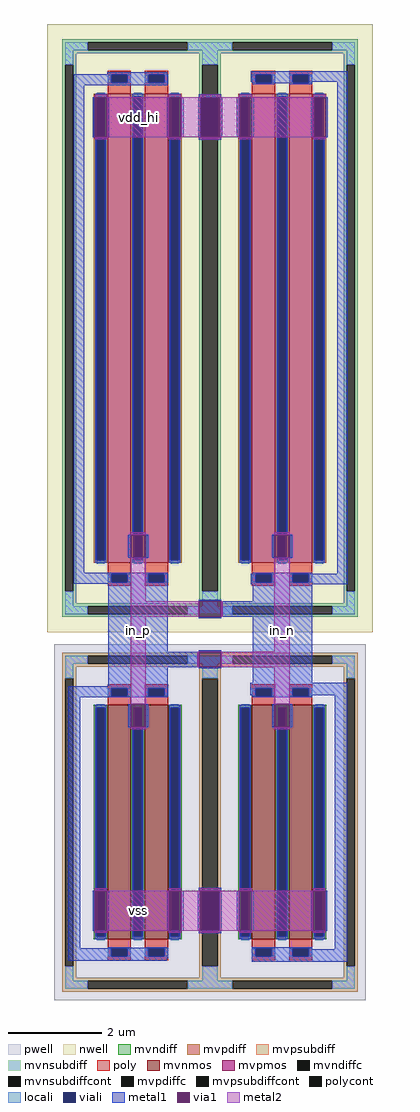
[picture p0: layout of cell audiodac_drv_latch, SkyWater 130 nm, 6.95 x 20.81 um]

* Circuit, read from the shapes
.subckt audiodac_drv_latch in_p in_n vdd_hi vss
XM1 in_p in_n vss vss sky130_fd_pr__nfet_g5v0d10v5 w=5 l=0.5 m=2
XM2 in_n in_p vss vss sky130_fd_pr__nfet_g5v0d10v5 w=5 l=0.5 m=2
XM3 in_p in_n vdd_hi vdd_hi sky130_fd_pr__pfet_g5v0d10v5 w=10 l=0.5 m=2
XM4 in_n in_p vdd_hi vdd_hi sky130_fd_pr__pfet_g5v0d10v5 w=10 l=0.5 m=2
.ends

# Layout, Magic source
magic
tech sky130A
magscale 1 2
<< nwell >>
rect 1834 -25434 3224 -22840
<< pwell >>
rect 1864 -27002 3194 -25486
<< mvnmos >>
rect 2092 -26744 2192 -25744
rect 2250 -26744 2350 -25744
rect 2708 -26744 2808 -25744
rect 2866 -26744 2966 -25744
<< mvpmos >>
rect 2092 -25138 2192 -23138
rect 2250 -25138 2350 -23138
rect 2708 -25138 2808 -23138
rect 2866 -25138 2966 -23138
<< mvndiff >>
rect 2034 -25756 2092 -25744
rect 2034 -26732 2046 -25756
rect 2080 -26732 2092 -25756
rect 2034 -26744 2092 -26732
rect 2192 -25756 2250 -25744
rect 2192 -26732 2204 -25756
rect 2238 -26732 2250 -25756
rect 2192 -26744 2250 -26732
rect 2350 -25756 2408 -25744
rect 2350 -26732 2362 -25756
rect 2396 -26732 2408 -25756
rect 2350 -26744 2408 -26732
rect 2650 -25756 2708 -25744
rect 2650 -26732 2662 -25756
rect 2696 -26732 2708 -25756
rect 2650 -26744 2708 -26732
rect 2808 -25756 2866 -25744
rect 2808 -26732 2820 -25756
rect 2854 -26732 2866 -25756
rect 2808 -26744 2866 -26732
rect 2966 -25756 3024 -25744
rect 2966 -26732 2978 -25756
rect 3012 -26732 3024 -25756
rect 2966 -26744 3024 -26732
<< mvpdiff >>
rect 2034 -23150 2092 -23138
rect 2034 -25126 2046 -23150
rect 2080 -25126 2092 -23150
rect 2034 -25138 2092 -25126
rect 2192 -23150 2250 -23138
rect 2192 -25126 2204 -23150
rect 2238 -25126 2250 -23150
rect 2192 -25138 2250 -25126
rect 2350 -23150 2408 -23138
rect 2350 -25126 2362 -23150
rect 2396 -25126 2408 -23150
rect 2350 -25138 2408 -25126
rect 2650 -23150 2708 -23138
rect 2650 -25126 2662 -23150
rect 2696 -25126 2708 -23150
rect 2650 -25138 2708 -25126
rect 2808 -23150 2866 -23138
rect 2808 -25126 2820 -23150
rect 2854 -25126 2866 -23150
rect 2808 -25138 2866 -25126
rect 2966 -23150 3024 -23138
rect 2966 -25126 2978 -23150
rect 3012 -25126 3024 -23150
rect 2966 -25138 3024 -25126
<< mvndiffc >>
rect 2046 -26732 2080 -25756
rect 2204 -26732 2238 -25756
rect 2362 -26732 2396 -25756
rect 2662 -26732 2696 -25756
rect 2820 -26732 2854 -25756
rect 2978 -26732 3012 -25756
<< mvpdiffc >>
rect 2046 -25126 2080 -23150
rect 2204 -25126 2238 -23150
rect 2362 -25126 2396 -23150
rect 2662 -25126 2696 -23150
rect 2820 -25126 2854 -23150
rect 2978 -25126 3012 -23150
<< mvpsubdiff >>
rect 1900 -25534 3158 -25522
rect 1900 -25568 2008 -25534
rect 2434 -25568 2624 -25534
rect 3050 -25568 3158 -25534
rect 1900 -25580 3158 -25568
rect 1900 -25630 1958 -25580
rect 1900 -26858 1912 -25630
rect 1946 -26858 1958 -25630
rect 2484 -25630 2574 -25580
rect 1900 -26908 1958 -26858
rect 2484 -26858 2496 -25630
rect 2562 -26858 2574 -25630
rect 3100 -25630 3158 -25580
rect 2484 -26908 2574 -26858
rect 3100 -26858 3112 -25630
rect 3146 -26858 3158 -25630
rect 3100 -26908 3158 -26858
rect 1900 -26920 3158 -26908
rect 1900 -26954 2008 -26920
rect 2434 -26954 2624 -26920
rect 3050 -26954 3158 -26920
rect 1900 -26966 3158 -26954
<< mvnsubdiff >>
rect 1900 -22918 3158 -22906
rect 1900 -22952 2008 -22918
rect 2434 -22952 2624 -22918
rect 3050 -22952 3158 -22918
rect 1900 -22964 3158 -22952
rect 1900 -23014 1958 -22964
rect 1900 -25260 1912 -23014
rect 1946 -25260 1958 -23014
rect 2484 -23014 2574 -22964
rect 1900 -25310 1958 -25260
rect 2484 -25260 2496 -23014
rect 2562 -25260 2574 -23014
rect 3100 -23014 3158 -22964
rect 2484 -25310 2574 -25260
rect 3100 -25260 3112 -23014
rect 3146 -25260 3158 -23014
rect 3100 -25310 3158 -25260
rect 1900 -25322 3158 -25310
rect 1900 -25356 2008 -25322
rect 2434 -25356 2624 -25322
rect 3050 -25356 3158 -25322
rect 1900 -25368 3158 -25356
<< mvpsubdiffcont >>
rect 2008 -25568 2434 -25534
rect 2624 -25568 3050 -25534
rect 1912 -26858 1946 -25630
rect 2496 -26858 2562 -25630
rect 3112 -26858 3146 -25630
rect 2008 -26954 2434 -26920
rect 2624 -26954 3050 -26920
<< mvnsubdiffcont >>
rect 2008 -22952 2434 -22918
rect 2624 -22952 3050 -22918
rect 1912 -25260 1946 -23014
rect 2496 -25260 2562 -23014
rect 3112 -25260 3146 -23014
rect 2008 -25356 2434 -25322
rect 2624 -25356 3050 -25322
<< poly >>
rect 2092 -23056 2192 -23040
rect 2092 -23090 2108 -23056
rect 2176 -23090 2192 -23056
rect 2092 -23138 2192 -23090
rect 2250 -23056 2350 -23040
rect 2250 -23090 2266 -23056
rect 2334 -23090 2350 -23056
rect 2250 -23138 2350 -23090
rect 2092 -25186 2192 -25138
rect 2092 -25220 2108 -25186
rect 2176 -25220 2192 -25186
rect 2092 -25236 2192 -25220
rect 2250 -25186 2350 -25138
rect 2250 -25220 2266 -25186
rect 2334 -25220 2350 -25186
rect 2250 -25236 2350 -25220
rect 2708 -23056 2808 -23040
rect 2708 -23090 2724 -23056
rect 2792 -23090 2808 -23056
rect 2708 -23138 2808 -23090
rect 2866 -23056 2966 -23040
rect 2866 -23090 2882 -23056
rect 2950 -23090 2966 -23056
rect 2866 -23138 2966 -23090
rect 2708 -25186 2808 -25138
rect 2708 -25220 2724 -25186
rect 2792 -25220 2808 -25186
rect 2708 -25236 2808 -25220
rect 2866 -25186 2966 -25138
rect 2866 -25220 2882 -25186
rect 2950 -25220 2966 -25186
rect 2866 -25236 2966 -25220
rect 2092 -25672 2192 -25656
rect 2092 -25706 2108 -25672
rect 2176 -25706 2192 -25672
rect 2092 -25744 2192 -25706
rect 2250 -25672 2350 -25656
rect 2250 -25706 2266 -25672
rect 2334 -25706 2350 -25672
rect 2250 -25744 2350 -25706
rect 2092 -26782 2192 -26744
rect 2092 -26816 2108 -26782
rect 2176 -26816 2192 -26782
rect 2092 -26832 2192 -26816
rect 2250 -26782 2350 -26744
rect 2250 -26816 2266 -26782
rect 2334 -26816 2350 -26782
rect 2250 -26832 2350 -26816
rect 2708 -25672 2808 -25656
rect 2708 -25706 2724 -25672
rect 2792 -25706 2808 -25672
rect 2708 -25744 2808 -25706
rect 2866 -25672 2966 -25656
rect 2866 -25706 2882 -25672
rect 2950 -25706 2966 -25672
rect 2866 -25744 2966 -25706
rect 2708 -26782 2808 -26744
rect 2708 -26816 2724 -26782
rect 2792 -26816 2808 -26782
rect 2708 -26832 2808 -26816
rect 2866 -26782 2966 -26744
rect 2866 -26816 2882 -26782
rect 2950 -26816 2966 -26782
rect 2866 -26832 2966 -26816
<< polycont >>
rect 2108 -23090 2176 -23056
rect 2266 -23090 2334 -23056
rect 2108 -25220 2176 -25186
rect 2266 -25220 2334 -25186
rect 2724 -23090 2792 -23056
rect 2882 -23090 2950 -23056
rect 2724 -25220 2792 -25186
rect 2882 -25220 2950 -25186
rect 2108 -25706 2176 -25672
rect 2266 -25706 2334 -25672
rect 2108 -26816 2176 -26782
rect 2266 -26816 2334 -26782
rect 2724 -25706 2792 -25672
rect 2882 -25706 2950 -25672
rect 2724 -26816 2792 -26782
rect 2882 -26816 2950 -26782
<< locali >>
rect 1912 -22952 2008 -22918
rect 2434 -22952 2624 -22918
rect 3050 -22952 3146 -22918
rect 1912 -23014 1946 -22952
rect 2496 -23014 2562 -22952
rect 2092 -23090 2108 -23056
rect 2176 -23090 2192 -23056
rect 2250 -23090 2266 -23056
rect 2334 -23090 2350 -23056
rect 2046 -23150 2080 -23134
rect 2046 -25142 2080 -25126
rect 2204 -23150 2238 -23134
rect 2204 -25142 2238 -25126
rect 2362 -23150 2396 -23134
rect 3112 -23014 3146 -22952
rect 2708 -23090 2724 -23056
rect 2792 -23090 2808 -23056
rect 2866 -23090 2882 -23056
rect 2950 -23090 2966 -23056
rect 2662 -23150 2696 -23134
rect 2362 -25142 2396 -25126
rect 2092 -25220 2108 -25186
rect 2176 -25220 2192 -25186
rect 2250 -25220 2266 -25186
rect 2334 -25220 2350 -25186
rect 1912 -25322 1946 -25260
rect 2662 -25142 2696 -25126
rect 2820 -23150 2854 -23134
rect 2820 -25142 2854 -25126
rect 2978 -23150 3012 -23134
rect 2978 -25142 3012 -25126
rect 2708 -25220 2724 -25186
rect 2792 -25220 2808 -25186
rect 2866 -25220 2882 -25186
rect 2950 -25220 2966 -25186
rect 2496 -25322 2562 -25260
rect 3112 -25322 3146 -25260
rect 1912 -25356 2008 -25322
rect 2434 -25356 2624 -25322
rect 3050 -25356 3146 -25322
rect 1912 -25568 2008 -25534
rect 2434 -25568 2624 -25534
rect 3050 -25568 3146 -25534
rect 1912 -25630 1946 -25568
rect 2496 -25630 2562 -25568
rect 2092 -25706 2108 -25672
rect 2176 -25706 2192 -25672
rect 2250 -25706 2266 -25672
rect 2334 -25706 2350 -25672
rect 2046 -25756 2080 -25740
rect 2046 -26748 2080 -26732
rect 2204 -25756 2238 -25740
rect 2204 -26748 2238 -26732
rect 2362 -25756 2396 -25740
rect 3112 -25630 3146 -25568
rect 2708 -25706 2724 -25672
rect 2792 -25706 2808 -25672
rect 2866 -25706 2882 -25672
rect 2950 -25706 2966 -25672
rect 2662 -25756 2696 -25740
rect 2362 -26748 2396 -26732
rect 2092 -26816 2108 -26782
rect 2176 -26816 2192 -26782
rect 2250 -26816 2266 -26782
rect 2334 -26816 2350 -26782
rect 1912 -26920 1946 -26858
rect 2662 -26748 2696 -26732
rect 2820 -25756 2854 -25740
rect 2820 -26748 2854 -26732
rect 2978 -25756 3012 -25740
rect 2978 -26748 3012 -26732
rect 2708 -26816 2724 -26782
rect 2792 -26816 2808 -26782
rect 2866 -26816 2882 -26782
rect 2950 -26816 2966 -26782
rect 2496 -26920 2562 -26858
rect 3112 -26920 3146 -26858
rect 1912 -26954 2008 -26920
rect 2434 -26954 2624 -26920
rect 3050 -26954 3146 -26920
<< viali >>
rect 2108 -23090 2176 -23056
rect 2266 -23090 2334 -23056
rect 2046 -25126 2080 -23150
rect 2204 -25126 2238 -23150
rect 2362 -25126 2396 -23150
rect 2724 -23090 2792 -23056
rect 2882 -23090 2950 -23056
rect 2488 -23322 2496 -23152
rect 2496 -23322 2562 -23152
rect 2562 -23322 2572 -23152
rect 2108 -25220 2176 -25186
rect 2266 -25220 2334 -25186
rect 2662 -25126 2696 -23150
rect 2820 -25126 2854 -23150
rect 2978 -25126 3012 -23150
rect 2724 -25220 2792 -25186
rect 2882 -25220 2950 -25186
rect 2108 -25706 2176 -25672
rect 2266 -25706 2334 -25672
rect 2046 -26732 2080 -25756
rect 2204 -26732 2238 -25756
rect 2362 -26732 2396 -25756
rect 2724 -25706 2792 -25672
rect 2882 -25706 2950 -25672
rect 2486 -26706 2496 -26536
rect 2496 -26706 2562 -26536
rect 2562 -26706 2570 -26536
rect 2108 -26816 2176 -26782
rect 2266 -26816 2334 -26782
rect 2662 -26732 2696 -25756
rect 2820 -26732 2854 -25756
rect 2978 -26732 3012 -25756
rect 2724 -26816 2792 -26782
rect 2882 -26816 2950 -26782
<< metal1 >>
rect 2090 -23055 2346 -23046
rect 1947 -23056 2349 -23055
rect 1947 -23090 2108 -23056
rect 2176 -23090 2266 -23056
rect 2334 -23090 2349 -23056
rect 2703 -23056 3117 -23041
rect 2703 -23087 2724 -23056
rect 1947 -23101 2349 -23090
rect 2710 -23090 2724 -23087
rect 2792 -23090 2882 -23056
rect 2950 -23087 3117 -23056
rect 2950 -23090 2966 -23087
rect 2710 -23092 2966 -23090
rect 2712 -23096 2804 -23092
rect 2870 -23096 2962 -23092
rect 1947 -25180 1993 -23101
rect 2040 -23150 2086 -23138
rect 2040 -23152 2046 -23150
rect 2080 -23152 2086 -23150
rect 2198 -23150 2244 -23138
rect 2028 -23322 2038 -23152
rect 2090 -23322 2100 -23152
rect 2040 -25126 2046 -23322
rect 2080 -25126 2086 -23322
rect 2198 -25018 2204 -23150
rect 2238 -25018 2244 -23150
rect 2356 -23150 2402 -23138
rect 2356 -23152 2362 -23150
rect 2396 -23152 2402 -23150
rect 2482 -23152 2578 -23140
rect 2656 -23150 2702 -23138
rect 2656 -23152 2662 -23150
rect 2696 -23152 2702 -23150
rect 2814 -23150 2860 -23138
rect 2344 -23322 2354 -23152
rect 2406 -23322 2416 -23152
rect 2478 -23322 2488 -23152
rect 2572 -23322 2582 -23152
rect 2644 -23322 2654 -23152
rect 2706 -23322 2716 -23152
rect 2180 -25116 2190 -25018
rect 2256 -25116 2266 -25018
rect 2040 -25138 2086 -25126
rect 2198 -25126 2204 -25116
rect 2238 -25126 2244 -25116
rect 2198 -25138 2244 -25126
rect 2356 -25126 2362 -23322
rect 2396 -25126 2402 -23322
rect 2482 -23334 2578 -23322
rect 2356 -25138 2402 -25126
rect 2656 -25126 2662 -23322
rect 2696 -25126 2702 -23322
rect 2814 -25018 2820 -23150
rect 2854 -25018 2860 -23150
rect 2972 -23150 3018 -23138
rect 2972 -23152 2978 -23150
rect 3012 -23152 3018 -23150
rect 2960 -23322 2970 -23152
rect 3022 -23322 3032 -23152
rect 2794 -25116 2804 -25018
rect 2870 -25116 2880 -25018
rect 2656 -25138 2702 -25126
rect 2814 -25126 2820 -25116
rect 2854 -25126 2860 -25116
rect 2814 -25138 2860 -25126
rect 2972 -25126 2978 -23322
rect 3012 -25126 3018 -23322
rect 2972 -25138 3018 -25126
rect 1947 -25186 2348 -25180
rect 2712 -25184 2964 -25180
rect 3071 -25184 3117 -23087
rect 1947 -25220 2108 -25186
rect 2176 -25220 2266 -25186
rect 2334 -25220 2348 -25186
rect 1947 -25226 2348 -25220
rect 2096 -25516 2348 -25226
rect 2702 -25186 3117 -25184
rect 2702 -25220 2724 -25186
rect 2792 -25220 2882 -25186
rect 2950 -25220 3117 -25186
rect 2702 -25230 3117 -25220
rect 2480 -25302 2578 -25296
rect 2712 -25302 2964 -25230
rect 2578 -25368 2964 -25302
rect 2480 -25374 2578 -25368
rect 2480 -25516 2578 -25510
rect 2096 -25582 2480 -25516
rect 2096 -25664 2348 -25582
rect 2480 -25588 2578 -25582
rect 2712 -25650 2964 -25368
rect 1924 -25672 2348 -25664
rect 1924 -25706 2108 -25672
rect 2176 -25706 2266 -25672
rect 2334 -25706 2348 -25672
rect 2700 -25672 3114 -25650
rect 2700 -25702 2724 -25672
rect 1924 -25712 2348 -25706
rect 2712 -25706 2724 -25702
rect 2792 -25706 2882 -25672
rect 2950 -25702 3114 -25672
rect 2950 -25706 2964 -25702
rect 2712 -25712 2964 -25706
rect 1924 -26782 1976 -25712
rect 2040 -25756 2086 -25744
rect 2040 -26536 2046 -25756
rect 2080 -26536 2086 -25756
rect 2180 -25838 2190 -25740
rect 2256 -25838 2266 -25740
rect 2356 -25756 2402 -25744
rect 2028 -26706 2038 -26536
rect 2090 -26706 2100 -26536
rect 2040 -26732 2046 -26706
rect 2080 -26732 2086 -26706
rect 2040 -26744 2086 -26732
rect 2198 -26732 2204 -25838
rect 2238 -26732 2244 -25838
rect 2356 -26536 2362 -25756
rect 2396 -26536 2402 -25756
rect 2656 -25756 2702 -25744
rect 2480 -26536 2576 -26524
rect 2656 -26536 2662 -25756
rect 2696 -26536 2702 -25756
rect 2794 -25838 2804 -25740
rect 2870 -25838 2880 -25740
rect 2972 -25756 3018 -25744
rect 2344 -26706 2354 -26536
rect 2406 -26706 2416 -26536
rect 2476 -26706 2486 -26536
rect 2570 -26706 2580 -26536
rect 2644 -26706 2654 -26536
rect 2706 -26706 2716 -26536
rect 2198 -26744 2244 -26732
rect 2356 -26732 2362 -26706
rect 2396 -26732 2402 -26706
rect 2480 -26718 2576 -26706
rect 2356 -26744 2402 -26732
rect 2656 -26732 2662 -26706
rect 2696 -26732 2702 -26706
rect 2656 -26744 2702 -26732
rect 2814 -26732 2820 -25838
rect 2854 -26732 2860 -25838
rect 2972 -26536 2978 -25756
rect 3012 -26536 3018 -25756
rect 2958 -26706 2968 -26536
rect 3020 -26706 3030 -26536
rect 2814 -26744 2860 -26732
rect 2972 -26732 2978 -26706
rect 3012 -26732 3018 -26706
rect 2972 -26744 3018 -26732
rect 2096 -26780 2188 -26776
rect 2254 -26780 2346 -26776
rect 2712 -26778 2804 -26776
rect 2870 -26778 2962 -26776
rect 2094 -26782 2350 -26780
rect 1924 -26816 2108 -26782
rect 2176 -26816 2266 -26782
rect 2334 -26816 2350 -26782
rect 1924 -26824 2350 -26816
rect 2708 -26782 2964 -26778
rect 2708 -26816 2724 -26782
rect 2792 -26816 2882 -26782
rect 2950 -26786 2964 -26782
rect 3062 -26786 3114 -25702
rect 2950 -26816 3114 -26786
rect 1924 -26834 2344 -26824
rect 2708 -26838 3114 -26816
<< via1 >>
rect 2038 -23322 2046 -23152
rect 2046 -23322 2080 -23152
rect 2080 -23322 2090 -23152
rect 2354 -23322 2362 -23152
rect 2362 -23322 2396 -23152
rect 2396 -23322 2406 -23152
rect 2488 -23322 2572 -23152
rect 2654 -23322 2662 -23152
rect 2662 -23322 2696 -23152
rect 2696 -23322 2706 -23152
rect 2190 -25116 2204 -25018
rect 2204 -25116 2238 -25018
rect 2238 -25116 2256 -25018
rect 2970 -23322 2978 -23152
rect 2978 -23322 3012 -23152
rect 3012 -23322 3022 -23152
rect 2804 -25116 2820 -25018
rect 2820 -25116 2854 -25018
rect 2854 -25116 2870 -25018
rect 2480 -25368 2578 -25302
rect 2480 -25582 2578 -25516
rect 2190 -25756 2256 -25740
rect 2190 -25838 2204 -25756
rect 2204 -25838 2238 -25756
rect 2238 -25838 2256 -25756
rect 2038 -26706 2046 -26536
rect 2046 -26706 2080 -26536
rect 2080 -26706 2090 -26536
rect 2804 -25756 2870 -25740
rect 2804 -25838 2820 -25756
rect 2820 -25838 2854 -25756
rect 2854 -25838 2870 -25756
rect 2354 -26706 2362 -26536
rect 2362 -26706 2396 -26536
rect 2396 -26706 2406 -26536
rect 2486 -26706 2570 -26536
rect 2654 -26706 2662 -26536
rect 2662 -26706 2696 -26536
rect 2696 -26706 2706 -26536
rect 2968 -26706 2978 -26536
rect 2978 -26706 3012 -26536
rect 3012 -26706 3020 -26536
<< metal2 >>
rect 2038 -23152 2090 -23142
rect 2354 -23152 2406 -23142
rect 2488 -23152 2572 -23142
rect 2654 -23152 2706 -23142
rect 2970 -23152 3022 -23142
rect 2090 -23322 2354 -23152
rect 2406 -23322 2488 -23152
rect 2572 -23322 2654 -23152
rect 2706 -23322 2970 -23152
rect 2038 -23332 2090 -23322
rect 2354 -23332 2406 -23322
rect 2488 -23332 2572 -23322
rect 2654 -23332 2706 -23322
rect 2970 -23332 3022 -23322
rect 2190 -25018 2256 -25008
rect 2190 -25302 2256 -25116
rect 2804 -25018 2870 -25008
rect 2190 -25368 2480 -25302
rect 2578 -25368 2584 -25302
rect 2190 -25740 2256 -25368
rect 2804 -25516 2870 -25116
rect 2474 -25582 2480 -25516
rect 2578 -25582 2870 -25516
rect 2190 -25848 2256 -25838
rect 2804 -25740 2870 -25582
rect 2804 -25848 2870 -25838
rect 2038 -26536 2090 -26526
rect 2354 -26536 2406 -26526
rect 2486 -26536 2570 -26526
rect 2654 -26536 2706 -26526
rect 2968 -26536 3020 -26526
rect 2090 -26706 2354 -26536
rect 2406 -26706 2486 -26536
rect 2570 -26706 2654 -26536
rect 2706 -26706 2968 -26536
rect 2038 -26716 2090 -26706
rect 2354 -26716 2406 -26706
rect 2486 -26716 2570 -26706
rect 2654 -26716 2706 -26706
rect 2968 -26716 3020 -26706
<< labels >>
rlabel metal2 2804 -25740 2870 -25116 1 in_n
port 2 n
rlabel metal2 2190 -25740 2256 -25116 1 in_p
port 1 n
rlabel metal2 2090 -26706 2354 -26536 1 vss
port 4 n
rlabel metal2 2090 -23322 2354 -23152 1 vdd_hi
port 3 n
<< end >>
